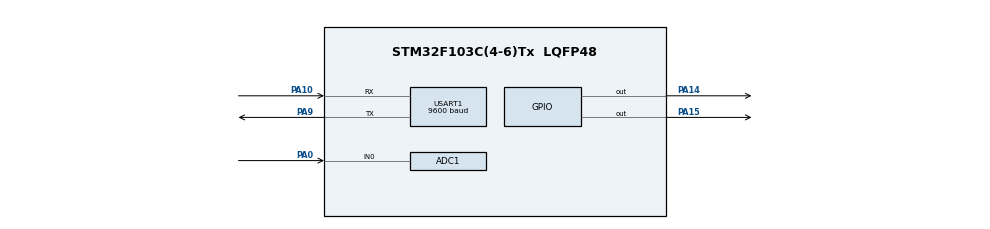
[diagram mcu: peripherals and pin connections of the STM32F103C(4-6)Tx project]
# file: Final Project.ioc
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ADC1.Channel-0\#ChannelRegularConversion=ADC_CHANNEL_0
ADC1.NbrOfConversionFlag=1
ADC1.Rank-0\#ChannelRegularConversion=1
ADC1.SamplingTime-0\#ChannelRegularConversion=ADC_SAMPLETIME_1CYCLE_5
ADC1.master=1
Mcu.Family=STM32F1
Mcu.Name=STM32F103C(4-6)Tx
Mcu.Package=LQFP48
NVIC.PriorityGroup=NVIC_PRIORITYGROUP_4
NVIC.TIM1_BRK_IRQn=true\:0\:0\:false\:false\:true\:true\:true
NVIC.TIM1_CC_IRQn=true\:0\:0\:false\:false\:true\:true\:true
NVIC.TIM1_TRG_COM_IRQn=true\:0\:0\:false\:false\:true\:true\:true
NVIC.TIM1_UP_IRQn=true\:0\:0\:false\:false\:true\:true\:true
PA0-WKUP.Signal=ADCx_IN0
PA10.Mode=Asynchronous
PA10.Signal=USART1_RX
PA14.GPIO_PuPd=GPIO_PULLDOWN
PA14.Signal=GPIO_Output
PA15.GPIO_ModeDefaultOutputPP=GPIO_MODE_OUTPUT_PP
PA15.GPIO_PuPd=GPIO_PULLDOWN
PA15.Signal=GPIO_Output
PA9.Mode=Asynchronous
PA9.Signal=USART1_TX
ProjectManager.HeapSize=0x200
ProjectManager.StackSize=0x400
ProjectManager.TargetToolchain=STM32CubeIDE
RCC.APB1Freq_Value=8000000
RCC.APB2Freq_Value=8000000
SH.ADCx_IN0.0=ADC1_IN0,IN0
TIM1.Prescaler=1000
USART1.BaudRate=9600
USART1.VirtualMode=VM_ASYNC
VP_SYS_VS_ND.Mode=No_Debug
VP_TIM1_VS_ClockSourceINT.Mode=Internal
VP_TIM1_VS_ClockSourceITR.Mode=TriggerSource_ITR0
VP_TIM1_VS_ControllerModeReset.Mode=Reset Mode
board=custom

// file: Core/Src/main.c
/* USER CODE BEGIN Header */
/**
  ******************************************************************************
  * @file           : main.c
  * @brief          : Main program body
  ******************************************************************************
  * @attention
  *
  * Copyright (c) 2022 STMicroelectronics.
  * All rights reserved.
  *
  * This software is licensed under terms that can be found in the LICENSE file
  * in the root directory of this software component.
  * If no LICENSE file comes with this software, it is provided AS-IS.
  *
  ******************************************************************************
  */
/* USER CODE END Header */
#include "main.h"

/* USER CODE BEGIN Includes */
#include <stdarg.h>
#include <stdio.h>
#include "string.h"

/* USER CODE END Includes */

ADC_HandleTypeDef hadc1;

TIM_HandleTypeDef htim1;

UART_HandleTypeDef huart1;

void SystemClock_Config(void);
static void MX_GPIO_Init(void);
static void MX_USART1_UART_Init(void);
static void MX_TIM1_Init(void);
static void MX_ADC1_Init(void);

/* USER CODE BEGIN 0 */
uint8_t rbuf [1] = {0};

uint16_t raw;
uint32_t temp;
char msg[20];

int ledStatus1 = 1;
int ledStatus2 = 1;

void toogleLed1(void){
	HAL_GPIO_TogglePin(GPIOA, GPIO_PIN_15);
	ledStatus1 = 1 - ledStatus1;
	rbuf[0] = 0;
}

void toogleLed2(void){
	HAL_GPIO_TogglePin(GPIOA, GPIO_PIN_14);
	ledStatus2 = 1 - ledStatus2;
	rbuf[0] = 0;
}

void println(char * str){
	  HAL_UART_Transmit(&huart1, (uint8_t *) str, strlen(str), 100);
	  char newline[2] = "\r\n";
	  HAL_UART_Transmit(&huart1, (uint8_t *) newline, 2, 10);
}

void calcTemp(){
	HAL_ADC_Start(&hadc1);
	HAL_ADC_PollForConversion(&hadc1, HAL_MAX_DELAY);
	raw = HAL_ADC_GetValue(&hadc1);
	temp = (raw*500)/4095;
}

void sendTemperatureAndLedStatus(){
	sprintf(msg,"%lu,%d,%d",temp, ledStatus1, ledStatus2);
	HAL_UART_Transmit(&huart1, (uint8_t *) msg, strlen(msg),HAL_MAX_DELAY);
}

/* USER CODE END 0 */

int main(void)
{

  /* MCU Configuration--------------------------------------------------------*/

  /* Reset of all peripherals, Initializes the Flash interface and the Systick. */
  HAL_Init();

  /* Configure the system clock */
  SystemClock_Config();

  /* Initialize all configured peripherals */
  MX_GPIO_Init();
  MX_USART1_UART_Init();
  MX_TIM1_Init();
  MX_ADC1_Init();
  /* USER CODE BEGIN 2 */

  HAL_TIM_Base_Start_IT(&htim1);

  /* USER CODE END 2 */

  /* Infinite loop */
  /* USER CODE BEGIN WHILE */
  while (1)
  {
	  HAL_UART_Receive(&huart1, rbuf, 1, 100);
	  if(rbuf[0] == '1'){
		  toogleLed1();

		  calcTemp();
		  sendTemperatureAndLedStatus();
	  }else if(rbuf[0] == '2'){
		  toogleLed2();

		  calcTemp();
		  sendTemperatureAndLedStatus();
	  }

    /* USER CODE END WHILE */

  }
}

void SystemClock_Config(void)
{
  RCC_OscInitTypeDef RCC_OscInitStruct = {0};
  RCC_ClkInitTypeDef RCC_ClkInitStruct = {0};
  RCC_PeriphCLKInitTypeDef PeriphClkInit = {0};

  /** Initializes the RCC Oscillators according to the specified parameters
  * in the RCC_OscInitTypeDef structure.
  */
  RCC_OscInitStruct.OscillatorType = RCC_OSCILLATORTYPE_HSI;
  RCC_OscInitStruct.HSIState = RCC_HSI_ON;
  RCC_OscInitStruct.HSICalibrationValue = RCC_HSICALIBRATION_DEFAULT;
  RCC_OscInitStruct.PLL.PLLState = RCC_PLL_NONE;
  if (HAL_RCC_OscConfig(&RCC_OscInitStruct) != HAL_OK)
  {
    Error_Handler();
  }
  /** Initializes the CPU, AHB and APB buses clocks
  */
  RCC_ClkInitStruct.ClockType = RCC_CLOCKTYPE_HCLK|RCC_CLOCKTYPE_SYSCLK
                              |RCC_CLOCKTYPE_PCLK1|RCC_CLOCKTYPE_PCLK2;
  RCC_ClkInitStruct.SYSCLKSource = RCC_SYSCLKSOURCE_HSI;
  RCC_ClkInitStruct.AHBCLKDivider = RCC_SYSCLK_DIV1;
  RCC_ClkInitStruct.APB1CLKDivider = RCC_HCLK_DIV1;
  RCC_ClkInitStruct.APB2CLKDivider = RCC_HCLK_DIV1;

  if (HAL_RCC_ClockConfig(&RCC_ClkInitStruct, FLASH_LATENCY_0) != HAL_OK)
  {
    Error_Handler();
  }
  PeriphClkInit.PeriphClockSelection = RCC_PERIPHCLK_ADC;
  PeriphClkInit.AdcClockSelection = RCC_ADCPCLK2_DIV2;
  if (HAL_RCCEx_PeriphCLKConfig(&PeriphClkInit) != HAL_OK)
  {
    Error_Handler();
  }
}

static void MX_ADC1_Init(void)
{

  ADC_ChannelConfTypeDef sConfig = {0};

  /** Common config
  */
  hadc1.Instance = ADC1;
  hadc1.Init.ScanConvMode = ADC_SCAN_DISABLE;
  hadc1.Init.ContinuousConvMode = DISABLE;
  hadc1.Init.DiscontinuousConvMode = DISABLE;
  hadc1.Init.ExternalTrigConv = ADC_SOFTWARE_START;
  hadc1.Init.DataAlign = ADC_DATAALIGN_RIGHT;
  hadc1.Init.NbrOfConversion = 1;
  if (HAL_ADC_Init(&hadc1) != HAL_OK)
  {
    Error_Handler();
  }
  /** Configure Regular Channel
  */
  sConfig.Channel = ADC_CHANNEL_0;
  sConfig.Rank = ADC_REGULAR_RANK_1;
  sConfig.SamplingTime = ADC_SAMPLETIME_1CYCLE_5;
  if (HAL_ADC_ConfigChannel(&hadc1, &sConfig) != HAL_OK)
  {
    Error_Handler();
  }

}

static void MX_TIM1_Init(void)
{

  TIM_ClockConfigTypeDef sClockSourceConfig = {0};
  TIM_SlaveConfigTypeDef sSlaveConfig = {0};
  TIM_MasterConfigTypeDef sMasterConfig = {0};

  htim1.Instance = TIM1;
  htim1.Init.Prescaler = 1000;
  htim1.Init.CounterMode = TIM_COUNTERMODE_UP;
  htim1.Init.Period = 65535;
  htim1.Init.ClockDivision = TIM_CLOCKDIVISION_DIV1;
  htim1.Init.RepetitionCounter = 0;
  htim1.Init.AutoReloadPreload = TIM_AUTORELOAD_PRELOAD_DISABLE;
  if (HAL_TIM_Base_Init(&htim1) != HAL_OK)
  {
    Error_Handler();
  }
  sClockSourceConfig.ClockSource = TIM_CLOCKSOURCE_INTERNAL;
  if (HAL_TIM_ConfigClockSource(&htim1, &sClockSourceConfig) != HAL_OK)
  {
    Error_Handler();
  }
  sSlaveConfig.SlaveMode = TIM_SLAVEMODE_RESET;
  sSlaveConfig.InputTrigger = TIM_TS_ITR0;
  if (HAL_TIM_SlaveConfigSynchro(&htim1, &sSlaveConfig) != HAL_OK)
  {
    Error_Handler();
  }
  sMasterConfig.MasterOutputTrigger = TIM_TRGO_RESET;
  sMasterConfig.MasterSlaveMode = TIM_MASTERSLAVEMODE_DISABLE;
  if (HAL_TIMEx_MasterConfigSynchronization(&htim1, &sMasterConfig) != HAL_OK)
  {
    Error_Handler();
  }

}

static void MX_USART1_UART_Init(void)
{

  huart1.Instance = USART1;
  huart1.Init.BaudRate = 9600;
  huart1.Init.WordLength = UART_WORDLENGTH_8B;
  huart1.Init.StopBits = UART_STOPBITS_1;
  huart1.Init.Parity = UART_PARITY_NONE;
  huart1.Init.Mode = UART_MODE_TX_RX;
  huart1.Init.HwFlowCtl = UART_HWCONTROL_NONE;
  huart1.Init.OverSampling = UART_OVERSAMPLING_16;
  if (HAL_UART_Init(&huart1) != HAL_OK)
  {
    Error_Handler();
  }

}

static void MX_GPIO_Init(void)
{
  GPIO_InitTypeDef GPIO_InitStruct = {0};

  /* GPIO Ports Clock Enable */
  __HAL_RCC_GPIOA_CLK_ENABLE();

  /*Configure GPIO pin Output Level */
  HAL_GPIO_WritePin(GPIOA, GPIO_PIN_14|GPIO_PIN_15, GPIO_PIN_RESET);

  /*Configure GPIO pins : PA14 PA15 */
  GPIO_InitStruct.Pin = GPIO_PIN_14|GPIO_PIN_15;
  GPIO_InitStruct.Mode = GPIO_MODE_OUTPUT_PP;
  GPIO_InitStruct.Pull = GPIO_PULLDOWN;
  GPIO_InitStruct.Speed = GPIO_SPEED_FREQ_LOW;
  HAL_GPIO_Init(GPIOA, &GPIO_InitStruct);

}

/* USER CODE BEGIN 4 */

void HAL_TIM_PeriodElapsedCallback(TIM_HandleTypeDef *htim){
	  calcTemp();
	  sendTemperatureAndLedStatus();
}

/* USER CODE END 4 */

void Error_Handler(void)
{
  __disable_irq();
  while (1)
  {
  }
}
